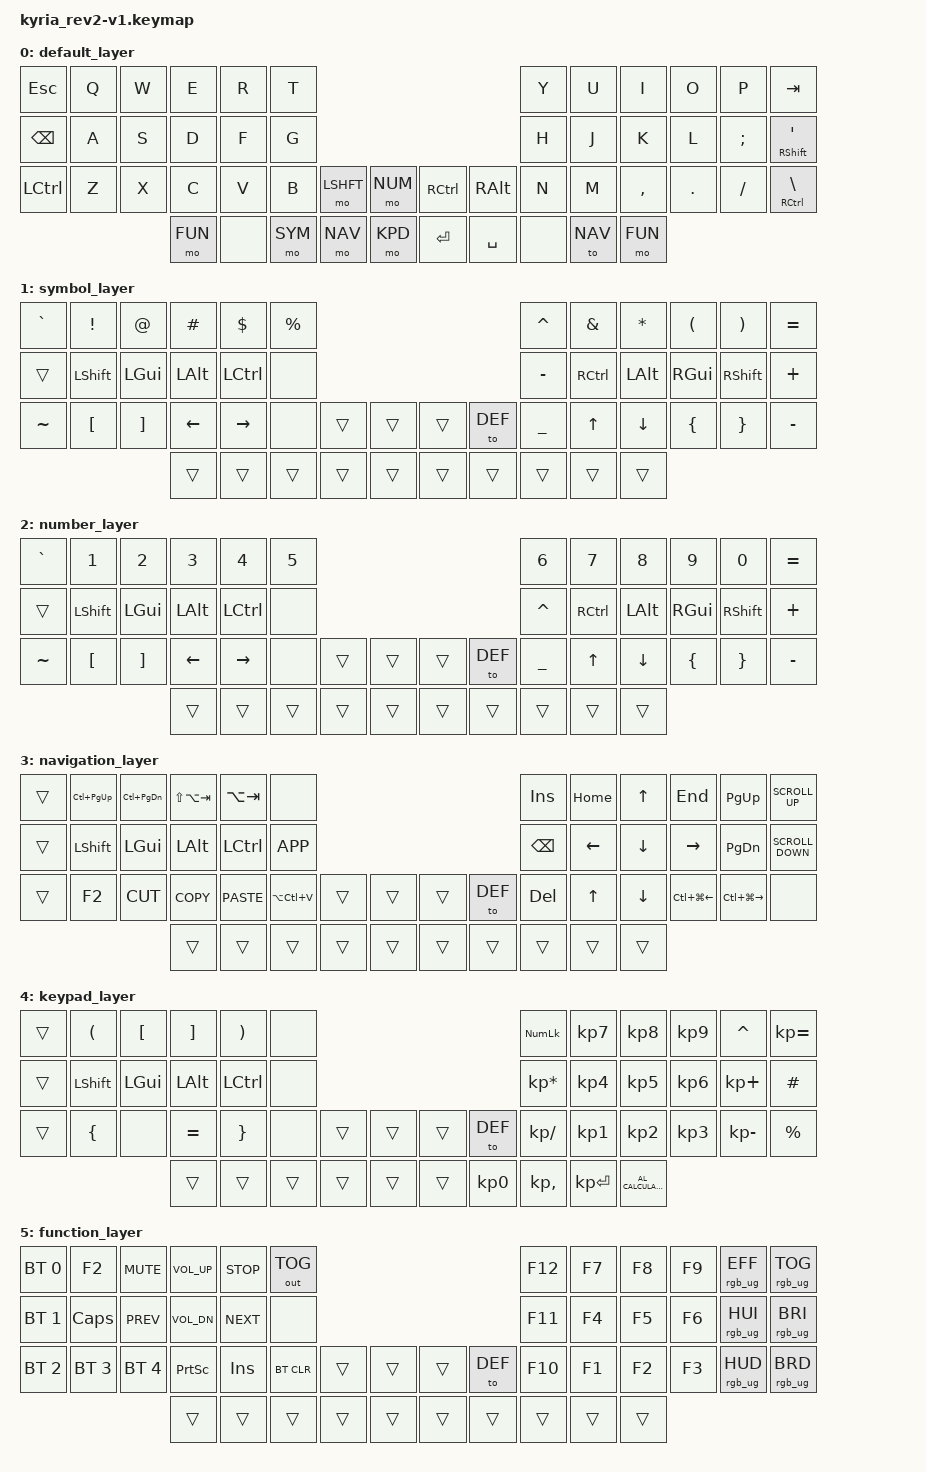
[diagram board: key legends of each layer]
/*
 * Copyright (c) 2020 The ZMK Contributors
 *
 * SPDX-License-Identifier: MIT
 */

#include <behaviors.dtsi>
#include <dt-bindings/zmk/keys.h>
#include <dt-bindings/zmk/bt.h>
#include <dt-bindings/zmk/outputs.h>
#include <dt-bindings/zmk/rgb.h>

#define DEF 0
#define SYM 1
#define NUM 2
#define NAV 3
#define KPD 4
#define FUN 5

#define PTAB LC(PG_UP)
#define NTAB LC(PG_DN)
#define NWIN LA(TAB)
#define PWIN LS(LA(TAB))
#define XSLV LA(LC(V))
#define PDESK LC(LG(RIGHT))
#define NDESK LC(LG(LEFT))
#define LR_DOWN LA(DOWN)
#define LR_UP LA(UP)

// Modifiers for left/right side fingers: 4=little 3=ring 2=middle 1=index
#define LMO4 LSHFT
#define LMO3 LGUI
#define LMO2 LALT
#define LMO1 LCTRL

#define RMO1 RCTRL
#define RMO2 LALT
#define RMO3 RGUI
#define RMO4 RSHFT


#define KP_MULT KP_MULTIPLY
#define KP_DIV KP_DIVIDE

/ {
	behaviors {
		lx: behavior_layer_momentary_to {
			compatible = "zmk,behavior-hold-tap";
			label = "LAYER_MOMENTARY_TO";
			#binding-cells = <2>;
			flavor = "hold-preferred";
			tapping-term-ms = <200>;
			bindings = <&mo>, <&to>;
		};
	};

	keymap {
		compatible = "zmk,keymap";

		default_layer {
//	---------------------------------------------------------------------------------------------------------------------------------
//	| ??? | Q   | W   | E   | R   | T   |                             | Y   | U   | I   | O   | P   | -   |
//	| ??? | A   | S   | D   | F   | G   |                             | H   | J   | K   | L   | ;   | '   |
//	| ??? | Z   | X   | C   | V   | B   | ??? | ??? |     | ??? | ??? | N   | M   | ,   | .   | /   | \   |
//	                  | ??? | ??? | ??? | ??? | ??? |     | ??? | ??? | ??? | ??? | ??? |
			bindings = <
	&kp ESC     &kp Q  &kp W   &kp E   &kp R   &kp T                                             &kp Y  &kp U   &kp I     &kp O   &kp P    &kp TAB
	&kp BSPC    &kp A  &kp S   &kp D   &kp F   &kp G                                             &kp H  &kp J   &kp K     &kp L   &kp SEMI &mt RSHFT SQT
	&kp LCTRL   &kp Z  &kp X   &kp C   &kp V   &kp B    &mo LSHFT &mo NUM    &kp RCTRL &kp RALT  &kp N  &kp M   &kp COMMA &kp DOT &kp FSLH &mt RCTRL BSLH
	                           &mo FUN &none   &mo SYM  &mo NAV   &mo KPD    &kp RET   &kp SPACE &none  &to NAV &mo FUN
			>;
		};

		symbol_layer {
//	---------------------------------------------------------------------------------------------------------------------------------
//	| `   | !   | @   | #   | $   | %   |                             | ^   | &   | *   | (   | )   | =   |
//	|     | XXX | XXX | XXX | XXX |     |                             | -   | XXX | XXX | XXX | XXX | +   |
//	| ~   | [   | ]   | LEFT| RIGH|     | --- | --- |     | --- | --- | _   | UP  | DOWN| {   | }   | -   |
//	                  | --- | --- | --- | --- | --- |     | --- | --- | --- | --- | --- |
			bindings = <
	&kp GRAVE  &kp EXCL   &kp AT    &kp HASH  &kp DLLR  &kp PRCNT                                 &kp CARET  &kp AMPS  &kp STAR  &kp LPAR  &kp RPAR  &kp EQUAL
	&trans     &kp LMO4   &kp LMO3  &kp LMO2  &kp LMO1  &none                                     &kp MINUS  &kp RMO1  &kp RMO2  &kp RMO3  &kp RMO4  &kp PLUS
	&kp TILDE  &kp LBKT   &kp RBKT  &kp LEFT  &kp RIGHT &none     &trans &trans    &trans &to DEF &kp UNDER  &kp UP    &kp DOWN  &kp LBRC  &kp RBRC  &kp MINUS
	                                &trans    &trans    &trans    &trans &trans    &trans &trans  &trans     &trans         &trans
			>;
		};

		number_layer {
//	---------------------------------------------------------------------------------------------------------------------------------
//	| `   | 1   | 2   | 3   | 4   | 5   |                             | 6   | 7   | 8   | 9   | 0   | $   |
//	|     | XXX | XXX | XXX | XXX | %   |                             | ^   | XXX | XXX | XXX | XXX | €   |
//	| ~   | [   | ]   | LEFT| RIGH|     | --- | --- |     | --- | --- | _   | UP  | DOWN| {   | }   | -   |
//	                  | --- | --- | --- | --- | --- |     | --- | --- | --- | --- | --- |
			bindings = <
	&kp GRAVE &kp N1     &kp N2    &kp N3    &kp N4    &kp N5                                   &kp N6    &kp N7    &kp N8    &kp N9    &kp N0    &kp EQUAL
	&trans    &kp LMO4   &kp LMO3  &kp LMO2  &kp LMO1  &none                                    &kp CARET &kp RMO1  &kp RMO2  &kp RMO3  &kp RMO4  &kp PLUS
	&kp TILDE &kp LBKT   &kp RBKT  &kp LEFT  &kp RIGHT &none    &trans &trans    &trans &to DEF &kp UNDER &kp UP    &kp DOWN  &kp LBRC  &kp RBRC  &kp MINUS
	                               &trans    &trans    &trans   &trans &trans    &trans &trans  &trans    &trans    &trans
			>;
		};

		navigation_layer {
			bindings = <
	&trans   &kp PTAB  &kp NTAB  &kp PWIN   &kp NWIN    &none                                     &kp INS   &kp HOME  &kp UP   &kp END   &kp PG_UP  &kp K_SCROLL_UP
	&trans   &kp LMO4  &kp LMO3  &kp LMO2   &kp LMO1    &kp K_APP                                 &kp BSPC  &kp LEFT  &kp DOWN &kp RIGHT &kp PG_DN  &kp K_SCROLL_DOWN
	&trans   &kp F2    &kp K_CUT &kp K_COPY &kp K_PASTE &kp XSLV  &trans &trans    &trans &to DEF &kp DEL   &kp UP    &kp DOWN &kp NDESK &kp PDESK  &none
	                             &trans     &trans      &trans    &trans &trans    &trans &trans  &trans    &trans    &trans
			>;
		};

		keypad_layer {
// @TODO: left side completely
//	---------------------------------------------------------------------------------------------------------------------------------
//	|     | (   | [   | ]   | )   |     |                             | NML | 7   | 8   | 9   | ^   | KP= |
//	|     | XXX | XXX | XXX | XXX |     |                             | *   | 4   | 5   | 6   | +   | #   |
//	|     | {   |     | =   | }   |     | --- | --- |     | --- | --- | /   | 1   | 2   | 3   | -   | %   |
//	                  | --- | --- | --- | --- | --- |     | --- | 0   | KP, | RET | CAL |
			bindings = <
	&trans  &kp LPAR  &kp LBKT  &kp RBKT  &kp RPAR  &none                                     &kp KP_NLCK  &kp KP_N7    &kp KP_N8 &kp KP_N9 &kp CARET    &kp KP_EQUAL
	&trans  &kp LMO4  &kp LMO3  &kp LMO2  &kp LMO1  &none                                     &kp KP_MULT  &kp KP_N4    &kp KP_N5 &kp KP_N6 &kp KP_PLUS  &kp HASH
	&trans  &kp LBRC  &none     &kp EQUAL &kp RBRC  &none   &trans &trans    &trans &to DEF   &kp KP_DIV   &kp KP_N1    &kp KP_N2 &kp KP_N3 &kp KP_MINUS &kp PRCNT
	                            &trans    &trans    &trans  &trans &trans    &trans &kp KP_N0 &kp KP_COMMA &kp KP_ENTER &kp C_AL_CALCULATOR
			>;
		};

		function_layer {
			bindings = <
	&bt BT_SEL 0 &kp F2       &kp C_MUTE   &kp C_VOL_UP &kp C_STOP &out OUT_TOG                                 &kp F12 &kp F7 &kp F8 &kp F9 &rgb_ug RGB_EFF &rgb_ug RGB_TOG
	&bt BT_SEL 1 &kp CAPS     &kp C_PREV   &kp C_VOL_DN &kp C_NEXT &none                                        &kp F11 &kp F4 &kp F5 &kp F6 &rgb_ug RGB_HUI &rgb_ug RGB_BRI
	&bt BT_SEL 2 &bt BT_SEL 3 &bt BT_SEL 4 &kp PSCRN    &kp INS    &bt BT_CLR   &trans &trans    &trans &to DEF &kp F10 &kp F1 &kp F2 &kp F3 &rgb_ug RGB_HUD &rgb_ug RGB_BRD
	                                       &trans       &trans     &trans       &trans &trans    &trans &trans  &trans  &trans &trans
			>;
		};
	};
};
